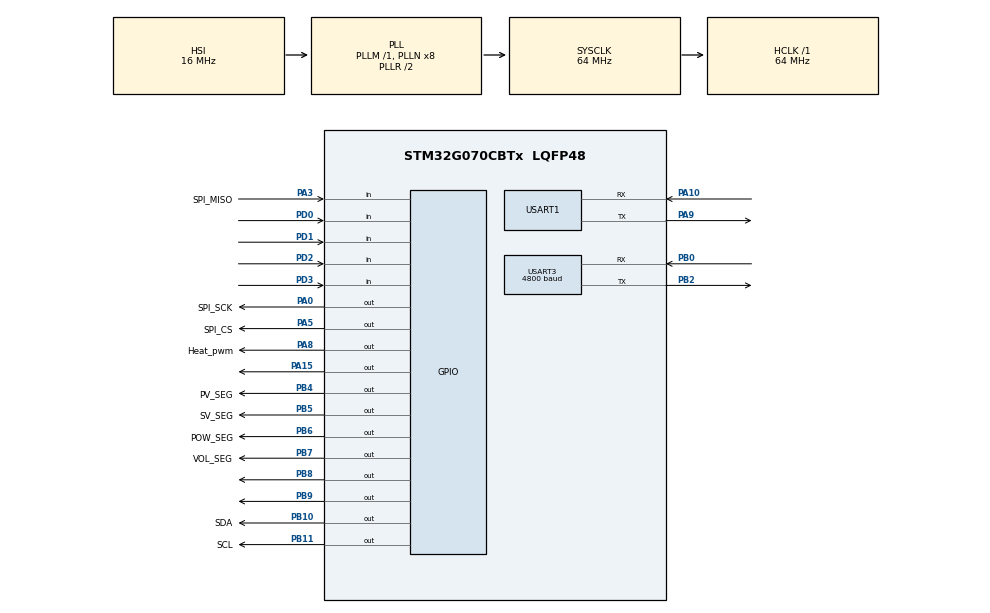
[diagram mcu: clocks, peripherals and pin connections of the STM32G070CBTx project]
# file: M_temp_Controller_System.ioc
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FREERTOS.Tasks01=defaultTask,16,128,StartDefaultTask,Default,NULL,Dynamic,NULL,NULL;Temp,27,256,Temp_Task,Default,NULL,Dynamic,NULL,NULL;Heat,28,256,Heat_Task,Default,NULL,Dynamic,NULL,NULL;Power,27,512,Power_Task,Default,NULL,Dynamic,NULL,NULL;UI,27,256,UI_Task,Default,NULL,Dynamic,NULL,NULL;Key,27,256,Key_Task,Default,NULL,Dynamic,NULL,NULL;Save,17,1024,Save_Task,Default,NULL,Dynamic,NULL,NULL;Beep,24,128,Beep_Task,Default,NULL,Dynamic,NULL,NULL;UART_Print,15,128,UART_Print_Task,Default,NULL,Dynamic,NULL,NULL;Fault_detector,24,128,Fault_detector_Task,Default,NULL,Dynamic,NULL,NULL
FREERTOS.configTOTAL_HEAP_SIZE=16000
FREERTOS.configUSE_NEWLIB_REENTRANT=1
Mcu.Family=STM32G0
Mcu.Name=STM32G070CBTx
Mcu.Package=LQFP48
NVIC.TIM6_IRQn=true\:3\:0\:false\:false\:true\:false\:false\:true\:true
NVIC.TimeBase=TIM6_IRQn
NVIC.TimeBaseIP=TIM6
PA0.GPIO_Label=SPI_SCK
PA0.Signal=GPIO_Output
PA10.Mode=Asynchronous
PA10.Signal=USART1_RX
PA13.Mode=Serial_Wire
PA13.Signal=SYS_SWDIO
PA14-BOOT0.Mode=Serial_Wire
PA14-BOOT0.Signal=SYS_SWCLK
PA15.Signal=GPIO_Output
PA3.GPIO_Label=SPI_MISO
PA3.Signal=GPIO_Input
PA5.GPIO_Label=SPI_CS
PA5.GPIO_Speed=GPIO_SPEED_FREQ_MEDIUM
PA5.Signal=GPIO_Output
PA8.GPIO_Label=Heat_pwm
PA8.Signal=GPIO_Output
PA9.Mode=Asynchronous
PA9.Signal=USART1_TX
PB0.GPIO_Speed=GPIO_SPEED_FREQ_VERY_HIGH
PB0.Mode=Asynchronous
PB0.PinState=GPIO_PIN_RESET
PB0.Signal=USART3_RX
PB10.GPIO_Label=SDA
PB10.GPIO_ModeDefaultOutputPP=GPIO_MODE_OUTPUT_OD
PB10.GPIO_PuPd=GPIO_NOPULL
PB10.Signal=GPIO_Output
PB11.GPIO_Label=SCL
PB11.GPIO_ModeDefaultOutputPP=GPIO_MODE_OUTPUT_OD
PB11.GPIO_PuPd=GPIO_NOPULL
PB11.Signal=GPIO_Output
PB2.Mode=Asynchronous
PB2.Signal=USART3_TX
PB4.GPIO_Label=PV_SEG
PB4.GPIO_Speed=GPIO_SPEED_FREQ_HIGH
PB4.PinState=GPIO_PIN_SET
PB4.Signal=GPIO_Output
PB5.GPIO_Label=SV_SEG
PB5.GPIO_Speed=GPIO_SPEED_FREQ_HIGH
PB5.PinState=GPIO_PIN_SET
PB5.Signal=GPIO_Output
PB6.GPIO_Label=POW_SEG
PB6.GPIO_Speed=GPIO_SPEED_FREQ_HIGH
PB6.PinState=GPIO_PIN_SET
PB6.Signal=GPIO_Output
PB7.GPIO_Label=VOL_SEG
PB7.GPIO_Speed=GPIO_SPEED_FREQ_HIGH
PB7.PinState=GPIO_PIN_SET
PB7.Signal=GPIO_Output
PB8.PinState=GPIO_PIN_SET
PB8.Signal=GPIO_Output
PB9.PinState=GPIO_PIN_SET
PB9.Signal=GPIO_Output
PD0.GPIO_PuPd=GPIO_PULLUP
PD0.Signal=GPIO_Input
PD1.GPIO_PuPd=GPIO_PULLUP
PD1.Signal=GPIO_Input
PD2.GPIO_PuPd=GPIO_PULLUP
PD2.Signal=GPIO_Input
PD3.GPIO_PuPd=GPIO_PULLUP
PD3.Signal=GPIO_Input
ProjectManager.HeapSize=0x200
ProjectManager.StackSize=0x400
ProjectManager.TargetToolchain=STM32CubeIDE
RCC.ADCFreq_Value=64000000
RCC.AHBFreq_Value=64000000
RCC.CortexFreq_Value=64000000
RCC.EXTERNAL_CLOCK_VALUE=48000
RCC.HCLKFreq_Value=64000000
RCC.HSE_VALUE=8000000
RCC.HSI_VALUE=16000000
RCC.LSE_VALUE=32768
RCC.SYSCLKFreq_VALUE=64000000
RCC.SYSCLKSource=RCC_SYSCLKSOURCE_PLLCLK
RCC.VCOOutputFreq_Value=128000000
TIM7.AutoReloadPreload=TIM_AUTORELOAD_PRELOAD_ENABLE
TIM7.Prescaler=64-1
USART1.VirtualMode-Asynchronous=VM_ASYNC
USART3.BaudRate=4800
USART3.Mode=MODE_TX_RX
USART3.Parity=PARITY_EVEN
USART3.VirtualMode-Asynchronous=VM_ASYNC
USART3.WordLength=WORDLENGTH_8B
VP_FREERTOS_VS_CMSIS_V2.Mode=CMSIS_V2
VP_SYS_VS_tim6.Mode=TIM6
VP_TIM7_VS_ClockSourceINT.Mode=Enable_Timer
board=custom

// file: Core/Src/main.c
/* USER CODE BEGIN Header */
/**
  ******************************************************************************
  * @file           : main.c
  * @brief          : Main program body
  ******************************************************************************
  * @attention
  *
  * Copyright (c) 2025 STMicroelectronics.
  * All rights reserved.
  *
  * This software is licensed under terms that can be found in the LICENSE file
  * in the root directory of this software component.
  * If no LICENSE file comes with this software, it is provided AS-IS.
  *
  ******************************************************************************
  */
/* USER CODE END Header */
#include "main.h"
#include "cmsis_os.h"
#include "tim.h"
#include "usart.h"
#include "gpio.h"

void SystemClock_Config(void);
void MX_FREERTOS_Init(void);

int main(void)
{

  /* MCU Configuration--------------------------------------------------------*/

  /* Reset of all peripherals, Initializes the Flash interface and the Systick. */
  HAL_Init();

  /* Configure the system clock */
  SystemClock_Config();

  /* USER CODE BEGIN SysInit */
  HAL_SYSCFG_StrobeDBattpinsConfig(SYSCFG_CFGR1_UCPD1_STROBE);
  HAL_SYSCFG_StrobeDBattpinsConfig(SYSCFG_CFGR1_UCPD2_STROBE);
  /* USER CODE END SysInit */

  /* Initialize all configured peripherals */
  MX_GPIO_Init();
  MX_USART1_UART_Init();
  MX_USART3_UART_Init();
  MX_TIM7_Init();
  /* USER CODE BEGIN 2 */
  HAL_TIM_Base_Start(&htim7);
  // ** 初始化 HLW8032 驱动 **
  // 假设 HLW8032 连接到 huart3
  HLW8032_Init(&huart3);
  //HLW8032_StartReceive();
  /* USER CODE END 2 */

  /* Init scheduler */
  osKernelInitialize();  /* Call init function for freertos objects (in cmsis_os2.c) */
  MX_FREERTOS_Init();

  /* Start scheduler */
  osKernelStart();

  /* We should never get here as control is now taken by the scheduler */

  /* Infinite loop */
  /* USER CODE BEGIN WHILE */
  while (1)
  {

	  osDelay(1000);
    /* USER CODE END WHILE */

  }
}

void SystemClock_Config(void)
{
  RCC_OscInitTypeDef RCC_OscInitStruct = {0};
  RCC_ClkInitTypeDef RCC_ClkInitStruct = {0};

  /** Configure the main internal regulator output voltage
  */
  HAL_PWREx_ControlVoltageScaling(PWR_REGULATOR_VOLTAGE_SCALE1);

  /** Initializes the RCC Oscillators according to the specified parameters
  * in the RCC_OscInitTypeDef structure.
  */
  RCC_OscInitStruct.OscillatorType = RCC_OSCILLATORTYPE_HSI;
  RCC_OscInitStruct.HSIState = RCC_HSI_ON;
  RCC_OscInitStruct.HSIDiv = RCC_HSI_DIV1;
  RCC_OscInitStruct.HSICalibrationValue = RCC_HSICALIBRATION_DEFAULT;
  RCC_OscInitStruct.PLL.PLLState = RCC_PLL_ON;
  RCC_OscInitStruct.PLL.PLLSource = RCC_PLLSOURCE_HSI;
  RCC_OscInitStruct.PLL.PLLM = RCC_PLLM_DIV1;
  RCC_OscInitStruct.PLL.PLLN = 8;
  RCC_OscInitStruct.PLL.PLLP = RCC_PLLP_DIV2;
  RCC_OscInitStruct.PLL.PLLR = RCC_PLLR_DIV2;
  if (HAL_RCC_OscConfig(&RCC_OscInitStruct) != HAL_OK)
  {
    Error_Handler();
  }

  /** Initializes the CPU, AHB and APB buses clocks
  */
  RCC_ClkInitStruct.ClockType = RCC_CLOCKTYPE_HCLK|RCC_CLOCKTYPE_SYSCLK
                              |RCC_CLOCKTYPE_PCLK1;
  RCC_ClkInitStruct.SYSCLKSource = RCC_SYSCLKSOURCE_PLLCLK;
  RCC_ClkInitStruct.AHBCLKDivider = RCC_SYSCLK_DIV1;
  RCC_ClkInitStruct.APB1CLKDivider = RCC_HCLK_DIV1;

  if (HAL_RCC_ClockConfig(&RCC_ClkInitStruct, FLASH_LATENCY_2) != HAL_OK)
  {
    Error_Handler();
  }
}

/* USER CODE BEGIN 4 */
void delay_us(uint16_t us)
{
    uint16_t start = TIM7->CNT;
    while ((uint16_t)(TIM7->CNT - start) < us) {}
}
/* USER CODE END 4 */

void HAL_TIM_PeriodElapsedCallback(TIM_HandleTypeDef *htim)
{
  if (htim->Instance == TIM6)
  {
    HAL_IncTick();
  }
}

void Error_Handler(void)
{
  __disable_irq();
  while (1)
  {
  }
}

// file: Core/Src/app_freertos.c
/* USER CODE BEGIN Header */
/**
  ******************************************************************************
  * File Name          : app_freertos.c
  * Description        : Code for freertos applications
  ******************************************************************************
  * @attention
  *
  * Copyright (c) 2025 STMicroelectronics.
  * All rights reserved.
  *
  * This software is licensed under terms that can be found in the LICENSE file
  * in the root directory of this software component.
  * If no LICENSE file comes with this software, it is provided AS-IS.
  *
  ******************************************************************************
  */
/* USER CODE END Header */

#include "FreeRTOS.h"
#include "task.h"
#include "main.h"
#include "cmsis_os.h"

/* USER CODE BEGIN Includes */
#include "stdio.h"
#include "tim.h"
#include "usart.h"
#include "gpio.h"
#include "string.h"
#include "math.h"

/* USER CODE END Includes */

/* USER CODE BEGIN PTD */
osMessageQueueId_t UartQueueHandle; // 串口打印队列

// ====================================================
// 新增：应用状态机定义
// ====================================================
typedef enum {
    STATE_OFF = 0,             // 初始状态，未加热，可调整目标温度 SV
   // STATE_SV_SETTING = 0,      // 与 STATE_OFF 相同，默认是设置模式
    STATE_HEAT_READY,          // PV 显示 "HEAT"，等待 OK 启动
    STATE_AUTOTUNE_READY,      // PV 显示 "ATUNE"，等待 OK 启动
    STATE_HEATING,             // PID 正在运行，控制加热
    STATE_AUTOTUNE_RUNNING,    // 自整定正在运行 (Save_Task 负责)
    STATE_FAULT                // MAX31855 传感器故障
} AppState_t;

/* Helper struct for EEPROM storage */
typedef struct {
    float Kp;
    float Ki;
    float Kd;
    float Setpoint; // 新增：目标温度设置值
    uint8_t magic;
} PID_Save_t;

typedef enum {
    MODE_POWER = 0,    // 功率显示格式
    MODE_VOLTAGE       // 电压显示格式
} DisplayMode_t;

/* USER CODE END PTD */

/* USER CODE BEGIN PD */

#define AVG_N 8

#define EEPROM_PID_ADDR 0x00
#define PID_MAGIC 0xA6

#define MAX_SAFE_TEMP_C 200.0f // 整定时与运行时的安全温度上限（请按实际设备设置）

// TM1652 通道定义 (对应 bsp_tm1652.c)
#define TM1652_CHANNEL_PV 0 // Process Value - 当前温度
#define TM1652_CHANNEL_SV 1 // Set Value - 目标温度
#define TM1652_CHANNEL_POW 3 // Power - 功率 (W) <-- 新增：Channel 2
#define TM1652_CHANNEL_VOL 2 // Voltage - 电压 (V) <-- 新增：Channel 3
// 数码管段码常量
#define SEG_DP_MASK 0x80 // DP点在最高位
#define TM1652_SET_CONTROL_LOW   0x18 //段驱动电流
#define TM1652_SET_CONTROL_MID   0x1E //段驱动电流1/2
#define TM1652_SET_CONTROL_MAX   0xFE //段驱动电流
#define KEY_MENU_LONG_PRESS_MS 5000 // 5秒长按进入自整定
#define KEY_ACCEL_PRESS_MS 200 // 500ms 长按进入加速调节
#define ACCEL_STEP_SIZE 10.0f // 加速调节步长 10.0度

/* USER CODE END PD */

/* USER CODE BEGIN Variables */

float tempBuffer[AVG_N];
uint8_t tempIndex = 0;
uint8_t tempCount = 0;

float   PID_Input_Temperature = 0.0f;

/* PID 对象（在 pid.c 中实现） */
PID_HandleTypeDef HeaterPID;
uint8_t g_pid_valid = 0; // EEPROM 有效标识

/* autotune / save flags  自整定标志位 */

volatile uint8_t g_save_pid_request = 0;

static uint8_t pv_reached_sv = 0;
/* synchronization */
osMutexId_t  xMutexTemp;
osMutexId_t  xMutexPID;
osMutexId_t xMutexPower; // 用于保护 HLW8032_GetData() 返回值的读取一致性

osMutexId_t xMutexState; // 新增：状态机和SV互斥锁

// ** 蜂鸣器信号量 **
osSemaphoreId_t beep_signal_sem; // 声明信号量句柄，供 bsp_io.c 引用

/* shared setpoint (可在 UI/按键中修改) */
float g_setpoint = 100.0f;

// 全局应用状态
volatile AppState_t g_app_state = STATE_OFF;

// 用于指示当前是否在调节 SV 设定值（且在 STATE_OFF 状态下）
volatile uint8_t g_is_sv_adjusting = 0;

// 0: 未静音，1: 已静音
volatile uint8_t g_fault_muted = 0;

extern uint8_t RxFrameCopy[HLW8032_FRAME_SIZE];
extern PID_AutotuneTypeDef myAT;
/* USER CODE END Variables */
/* Definitions for defaultTask */
osThreadId_t defaultTaskHandle;
const osThreadAttr_t defaultTask_attributes = {
  .name = "defaultTask",
  .priority = (osPriority_t) osPriorityBelowNormal,
  .stack_size = 128 * 4
};
/* Definitions for Temp */
osThreadId_t TempHandle;
const osThreadAttr_t Temp_attributes = {
  .name = "Temp",
  .priority = (osPriority_t) osPriorityNormal3,
  .stack_size = 256 * 4
};
/* Definitions for Heat */
osThreadId_t HeatHandle;
const osThreadAttr_t Heat_attributes = {
  .name = "Heat",
  .priority = (osPriority_t) osPriorityNormal4,
  .stack_size = 256 * 4
};
/* Definitions for Power */
osThreadId_t PowerHandle;
const osThreadAttr_t Power_attributes = {
  .name = "Power",
  .priority = (osPriority_t) osPriorityNormal3,
  .stack_size = 512 * 4
};
/* Definitions for UI */
osThreadId_t UIHandle;
const osThreadAttr_t UI_attributes = {
  .name = "UI",
  .priority = (osPriority_t) osPriorityNormal3,
  .stack_size = 256 * 4
};
/* Definitions for Key */
osThreadId_t KeyHandle;
const osThreadAttr_t Key_attributes = {
  .name = "Key",
  .priority = (osPriority_t) osPriorityNormal3,
  .stack_size = 256 * 4
};
/* Definitions for Save */
osThreadId_t SaveHandle;
const osThreadAttr_t Save_attributes = {
  .name = "Save",
  .priority = (osPriority_t) osPriorityBelowNormal1,
  .stack_size = 1024 * 4
};
/* Definitions for Beep */
osThreadId_t BeepHandle;
const osThreadAttr_t Beep_attributes = {
  .name = "Beep",
  .priority = (osPriority_t) osPriorityNormal,
  .stack_size = 128 * 4
};
/* Definitions for UART_Print */
osThreadId_t UART_PrintHandle;
const osThreadAttr_t UART_Print_attributes = {
  .name = "UART_Print",
  .priority = (osPriority_t) osPriorityLow7,
  .stack_size = 128 * 4
};
/* Definitions for Fault_detector */
osThreadId_t Fault_detectorHandle;
const osThreadAttr_t Fault_detector_attributes = {
  .name = "Fault_detector",
  .priority = (osPriority_t) osPriorityNormal,
  .stack_size = 128 * 4
};

/* USER CODE BEGIN FunctionPrototypes */

static float Temp_Filter(float newVal);
static int PID_LoadFromEEPROM(void);
//static int PID_SaveToEEPROM(void);
 float read_temp_impl(void);
 void set_heater_impl(uint8_t on); // power: 0..1

 // TM1652 驱动接口声明 (需要确保 bsp_tm1652.c 被编译链接)
 // SegmentMap 应该包含 0-9, 减号 (10), 消隐 (11)
 extern const uint8_t TM1652_SegmentMap[];
 // 温度转换函数
 static void FloatToSegments(float temp, uint8_t output[4]);
 void Convert_Float_To_Segments_Formatted(float value, uint8_t out_seg[4], DisplayMode_t mode);

/* USER CODE END FunctionPrototypes */

void StartDefaultTask(void *argument);
void Temp_Task(void *argument);
void Heat_Task(void *argument);
void Power_Task(void *argument);
void UI_Task(void *argument);
void Key_Task(void *argument);
void Save_Task(void *argument);
void Beep_Task(void *argument);
void UART_Print_Task(void *argument);
void Fault_detector_Task(void *argument);

void MX_FREERTOS_Init(void); /* (MISRA C 2004 rule 8.1) */

void MX_FREERTOS_Init(void) {
  /* USER CODE BEGIN Init */

	 /* create mutexes */
	  xMutexTemp = osMutexNew(NULL);
	  xMutexPID  = osMutexNew(NULL);
	  xMutexPower = osMutexNew(NULL); // 初始化功率互斥锁
	  xMutexState = osMutexNew(NULL); // 初始化状态机互斥锁
	  // ** 初始化蜂鸣器信号量 **
	  // 使用计数信号量，最大计数5，初始计数0
	  beep_signal_sem = osSemaphoreNew(5, 0, NULL);
	  /* load PID from EEPROM before creating tasks so Heat_Task can know g_pid_valid immediately */

	  if (PID_LoadFromEEPROM() == 0) {
			// Initialize PID controller with loaded params
			PID_Init(&HeaterPID, HeaterPID.Kp, HeaterPID.Ki, HeaterPID.Kd, 0.0f, 1.0f);
			g_pid_valid = 1;
		} else {
			// mark invalid and init PID with safe zeros
			g_pid_valid = 0;
			PID_Init(&HeaterPID, 0.0f, 0.0f, 0.0f, 0.0f, 1.0f);
			// 假设默认目标温度为 100
			g_setpoint = 100.0f;
		}
	//  HeaterPID.Kp  *=2;
	  //  HeaterPID.Kp = 0.12;   // 参数P  //300W功率加热棒 目标温度150 ，145度时功率明显下降
	//    HeaterPID.Ki = 0.0006;  // 参数I 0.002超温3度，且来回震荡  ->调小 振幅减小
	//    HeaterPID.Kd = 0.025; //

	    // 0.12  0.0008  0.02 处于轻微振荡状态 处于切阻尼
	    // 0.12 0.0006 0.025 温度会回落1度左右，然后缓慢升到目标温度 目标温度较高时需要很长时间到达目标温度

  /* USER CODE END Init */

  /* USER CODE BEGIN RTOS_QUEUES */
  /* add queues, ... */
 /* 创建串口打印队列，16 条消息，每条 128 字节 */
	UartQueueHandle = osMessageQueueNew(16, 128, NULL);
  /* USER CODE END RTOS_QUEUES */

  /* Create the thread(s) */
  /* creation of defaultTask */
  defaultTaskHandle = osThreadNew(StartDefaultTask, NULL, &defaultTask_attributes);

  /* creation of Temp */
  TempHandle = osThreadNew(Temp_Task, NULL, &Temp_attributes);

  /* creation of Heat */
  HeatHandle = osThreadNew(Heat_Task, NULL, &Heat_attributes);

  /* creation of Power */
  PowerHandle = osThreadNew(Power_Task, NULL, &Power_attributes);

  /* creation of UI */
  UIHandle = osThreadNew(UI_Task, NULL, &UI_attributes);

  /* creation of Key */
  KeyHandle = osThreadNew(Key_Task, NULL, &Key_attributes);

  /* creation of Save */
  SaveHandle = osThreadNew(Save_Task, NULL, &Save_attributes);

  /* creation of Beep */
  BeepHandle = osThreadNew(Beep_Task, NULL, &Beep_attributes);

  /* creation of UART_Print */
  UART_PrintHandle = osThreadNew(UART_Print_Task, NULL, &UART_Print_attributes);

  /* creation of Fault_detector */
  Fault_detectorHandle = osThreadNew(Fault_detector_Task, NULL, &Fault_detector_attributes);

}

void StartDefaultTask(void *argument)
{
  /* USER CODE BEGIN StartDefaultTask */
  /* Infinite loop */
  for(;;)
  {
    osDelay(100);
  }
  /* USER CODE END StartDefaultTask */
}

void Temp_Task(void *argument)
{
  /* USER CODE BEGIN Temp_Task */

  uint32_t nextWakeTime = osKernelGetTickCount();
  const uint32_t period = TEMP_PERIOD_MS; // 250ms
  char msg[128];
 // AppState_t old_state = STATE_OFF; // 用于检测状态变化
  /* Infinite loop */
  for(;;)
  {
   //1. 读取温度数据
   MAX31855_ReadData(&MAX31855_Handle);
   uint8_t current_fault = MAX31855_GetFault(&MAX31855_Handle);
   uint8_t over_temp_fault = 0;
   float raw_temp = 0.0f;
   float filtered_temp = 0.0f;

   if(!current_fault)
	 {
	     raw_temp = MAX31855_GetTemperature(&MAX31855_Handle);
	     filtered_temp = Temp_Filter(raw_temp); // 移动平均滤波
		 //2. 放入 PID 共享变量（线程安全）
		 if (osMutexAcquire(xMutexTemp, osWaitForever) == osOK) {
		     PID_Input_Temperature = filtered_temp;
		     osMutexRelease(xMutexTemp);
		 }

	 // 3. 检查安全温度
	 if (filtered_temp > g_setpoint+20) { //超温20摄氏度  报警
		 over_temp_fault = 1;
	 }
		 snprintf(msg, sizeof(msg), "Temperature: %.1f C\r\n", filtered_temp);
		 // 发送到 UART 打印队列
	     osMessageQueuePut(UartQueueHandle, &msg, 0, pdMS_TO_TICKS(10));
	 }
   // 4. 故障状态机管理
   	 if ( over_temp_fault) //删除current_fault
   	 {
   	     // 发生故障，强制进入故障模式并关闭加热
   	     if (osMutexAcquire(xMutexState, osWaitForever) == osOK) {
   	      //   old_state = g_app_state;
   	         g_app_state = STATE_FAULT;
   	         // MARK: Optimization 1: 进入故障模式时重置静音状态
   	         g_fault_muted = 0;
   	         osMutexRelease(xMutexState);
   	     }
   	     set_heater_impl(0);
   	     LED_Red_Set(1); // 故障红灯常亮

   	     // 只有在未静音时才触发蜂鸣器
   	     if (!g_fault_muted) {
   	         Beep_Start(); // 报警
   	     }

   	     if (current_fault) {
   	    	 snprintf(msg, sizeof(msg), "MAX31855 Fault! Raw=%.1f\r\n", raw_temp);
   	     } else {
   	    	 snprintf(msg, sizeof(msg), "OVER TEMP Fault! T=%.1f\r\n", filtered_temp);
   	     }
   	     // MARK: Optimization 8: UART 打印队列使用短时等待
   	     osMessageQueuePut(UartQueueHandle, &msg, 0, pdMS_TO_TICKS(10));

   	 }else {
	     // 故障解除后，如果当前状态是 FAULT，则切换回 OFF 状态
	     if (osMutexAcquire(xMutexState, osWaitForever) == osOK) {
	         if (g_app_state == STATE_FAULT) {
	             g_app_state = STATE_OFF;
	             // 故障解除，重置静音和指示灯状态
	             g_fault_muted = 0;
	             LED_Red_Set(0);
	             Beep_Start(); // 提示音
	         }
	         osMutexRelease(xMutexState);
	     }
	     // 持续处于非故障状态时，可以熄灭红灯（如果是Key_Task静音后留下的红灯）
	     if (g_app_state != STATE_FAULT) {
	         LED_Red_Set(0);
	     }
	 }

   // 精确周期延时
          nextWakeTime += period;
          osDelayUntil(nextWakeTime);
   // osDelay(1);
  }
  /* USER CODE END Temp_Task */
}

void Heat_Task(void *argument)
{
  /* USER CODE BEGIN Heat_Task */
	uint32_t nextWakeTime = osKernelGetTickCount();
	const uint32_t period = PID_PERIOD_MS; //500ms
	float temp = 0.0;
	AppState_t current_state;
	static uint8_t tpc_counter = 0;
	static uint8_t target_on_steps = 0;
	static uint8_t is_tuned_initialized = 0; // 用于标记自整定算法是否已就绪
  /* Infinite loop */
  for(;;)
  {

      // 1. 获取当前状态和温度
	  if (osMutexAcquire(xMutexState, osWaitForever) == osOK) {
	      current_state = g_app_state;
	      osMutexRelease(xMutexState);
	  }
/*	  if (current_state == STATE_AUTOTUNE_RUNNING) {
	      // Heat_Task 完全放弃控制，由 autotune 专用逻辑接管
	      nextWakeTime += period;
	      osDelayUntil(nextWakeTime);
	      continue;
	  }*/
	  // 获取当前温度
	  if (osMutexAcquire(xMutexTemp, osWaitForever) == osOK) {
		  temp = PID_Input_Temperature;
		  osMutexRelease(xMutexTemp);
	  }

	  // --- 核心状态机管理 ---
	  // 模式1: 故障模式优先级最高
	  if (current_state == STATE_FAULT)
	  {
		  set_heater_impl(0);
		  tpc_counter = 0;
	   }

	  // 模式2: 自整定模式

	  else if (current_state == STATE_AUTOTUNE_RUNNING)
	  {
		  if(is_tuned_initialized==0&&temp<(g_setpoint-5.0)) //当前温度<目标温度5℃
		  {
			  // --- 阶段 A: 全功率预热 ---
			  set_heater_impl(1);
			  tpc_counter = 0; // 保持 100% 输出
			  is_tuned_initialized = 0; // 只要还在预热，就标记为未初始化
		  }
		  else
		  {
			  if(is_tuned_initialized==0)
			  {
				  tpc_counter = 0;
				   is_tuned_initialized = 1; // 锁定在振荡阶段
			  }

		  // 1. 获取自整定算法的决策
			  float at_output = PID_Autotune_Process(&myAT, temp, osKernelGetTickCount());

			  // 2. 将自整定输出转化为 TPC 目标步数
			  // at_output 会在 (BaseOutput + OutputStep) 和 (BaseOutput - OutputStep) 之间切换
			  // 假设 BaseOutput = 0.3 (30%), OutputStep = 0.3 (20%)
			  // 则系统在 50% 功率和 10% 功率之间切换
			  if (tpc_counter == 0)
			  {
				  target_on_steps = (uint8_t)(at_output * TPC_STEPS + 0.5f);
				  if (target_on_steps > TPC_STEPS) target_on_steps = TPC_STEPS;
			  }

			  // 3. TPC 输出控制
				  if(tpc_counter < target_on_steps) set_heater_impl(1);
				  else set_heater_impl(0);
			  // 4. 更新计数器 (公用 TPC 逻辑)
				  tpc_counter++;
				  if(tpc_counter >= TPC_STEPS) tpc_counter = 0;
			  // 检查是否完成
			  if (myAT.Status == AUTOTUNE_COMPLETE) {
				  if (osMutexAcquire(xMutexPID, osWaitForever) == osOK) {
					  // 更新 PID 结构体参数
					  HeaterPID.Kp = myAT.SuggestedKp;
					  HeaterPID.Ki = myAT.SuggestedKi;
					  HeaterPID.Kd = myAT.SuggestedKd;
					  g_pid_valid = 1;
					  osMutexRelease(xMutexPID);
				  }
				  g_save_pid_request =1 ; //参数保持请求
				  // 自动切回停止或加热模式
				  if (osMutexAcquire(xMutexState, osWaitForever) == osOK) {
					  g_app_state = STATE_OFF;
					  osMutexRelease(xMutexState);
				  }
			  }
		  }

	  }
	  // 【模式三：正常 PID 加热模式】
	  // 2. 只有在 HEATING 状态下才执行 PID 逻辑
	  else if (current_state == STATE_HEATING)
	   {

		  // 2.1 安全检查：PID 参数必须有效
		  if (!g_pid_valid) {
			  set_heater_impl(0);
			  tpc_counter = 0;
			  char msg[64];
			  snprintf(msg, sizeof(msg), "PID params INVALID! Heater disabled.\r\n");
			  osMessageQueuePut(UartQueueHandle, &msg, 0, pdMS_TO_TICKS(10));

			  nextWakeTime += period;
			  osDelayUntil(nextWakeTime);
			  continue;
		  }
		  // 2.2 PID 计算
		   float dt = (float)period / 1000.0f;
		   float power_ratio = 0.0f; // 0.0 - 1.0

		   // 使用互斥锁保护 PID 结构体和 setpoint
		   if (osMutexAcquire(xMutexPID, 5) == osOK) {
			   power_ratio = PID_Compute(&HeaterPID, g_setpoint, temp, dt);
			   osMutexRelease(xMutexPID);
		   }

		   if (power_ratio < 0.0f) power_ratio = 0.0f;
		   if (power_ratio > 1.0f) power_ratio = 1.0f;

		   // 2.3 TPC 步数计算 在 TPC 周期开始 (tpc_counter == 0) 时更新目标步数
		   if (tpc_counter == 0)
		   {
			   target_on_steps = (uint8_t)(power_ratio * TPC_STEPS + 0.5f);
			   if (target_on_steps > TPC_STEPS) target_on_steps = TPC_STEPS;
		   }
		   // 2.4 TPC 控制输出
		   if(tpc_counter < target_on_steps)
		   {
			   set_heater_impl(1);  // SSR ON
		//	   LED_Green_Set(1);
		   }

		   else
		   {
			   set_heater_impl(0);  // SSR OFF
			//   LED_Green_Set(0);
		   }

		   // 2.5 更新计数器
		   tpc_counter++;
		   if(tpc_counter >= TPC_STEPS)
			   tpc_counter = 0;

		   // 2.6 打印调试信息
			char msg[128];
			snprintf(msg, sizeof(msg), "HEAT: T=%.1f, Ratio=%.2f, TPC Step=%d, Target=%d\r\n",
					 temp,
					 power_ratio,
					 (int)tpc_counter,
					 (int)target_on_steps);
			osMessageQueuePut(UartQueueHandle, &msg, 0, pdMS_TO_TICKS(10));

	   }
	  else
	  {

		  // 模式四：停止模式
	          set_heater_impl(0);
	          tpc_counter = 0; // 重置 TPC

	  }

	 nextWakeTime += period;
	 osDelayUntil(nextWakeTime);
  }
  /* USER CODE END Heat_Task */
}

void Power_Task(void *argument)
{
  /* USER CODE BEGIN Power_Task */
//	uint8_t frame[24];
//	uint8_t idx = 0;
//	uint32_t startTime = 0;
	// uint32_t nextWakeTime = osKernelGetTickCount();
	// const uint32_t period = 250; // 250ms 周期
  /* Infinite loop */
  for(;;)
  {
	//  uint8_t byte;
      // 每次阻塞接收 1 字节，超时 5ms
      if (HAL_UART_Receive(&huart3, RxFrameCopy, 24, 100) == HAL_OK)
      {

        	  HLW8032_ProcessAndStore();

      //        HLW8032_Value_t data = HLW8032_GetData();
/*              char msg[128];
              snprintf(msg, sizeof(msg),
                       "POWER: V=%.1fV A=%.3fA P=%.1fW\r\n",
                       data.Voltage, data.Current, data.Power);
              osMessageQueuePut(UartQueueHandle, msg, 0, 10);*/

      }

      osDelay(10);
  }
  /* USER CODE END Power_Task */
}

void UI_Task(void *argument)
{
  /* USER CODE BEGIN UI_Task */
	 LED_Green_Set(1);
	 LED_Red_Set(1);
	 osDelay(1000);
	 uint32_t nextWakeTime = osKernelGetTickCount();
	const uint32_t period =250; // 250ms 刷新周期
	float pv_temp = 0.0f;
	float sv_temp = 0.0f;
	float power = 0.0f;
	float voltage = 0.0f;

	static float pv_display = 0.0f;   // 用于显示的温度
	static float pv_hold = 0.0f;      // 锁定显示温度
	static uint8_t pv_display_init = 0;

	uint8_t pv_data[4];
	uint8_t sv_data[4];
	uint8_t pow_data[4];
	uint8_t vol_data[4];
	HLW8032_Value_t power_data;
	AppState_t current_state;
	uint8_t is_sv_adjusting = 0; // 局部变量
	// 模式文字 "HEAT" (H E A t) 和 "ATUN" (A t u n) 的段码定义
	const uint8_t SEG_HEAT[] = {0x76, 0x79, 0x77, 0x78}; // H E A T -> (H, E, A, t)
//	const uint8_t SEG_ATUN[] = {0x77, 0x78, 0x3e, 0x54}; // A T U N -> (A, t, u, n)
	const uint8_t SEG_BLANK[] = {0x00, 0x00, 0x00, 0x00}; // 全灭
	// 预定义模式名称的段码
	const uint8_t SEG_STD[]  = {0x6D, 0x78, 0x5E, 0x00}; // "Std " (S t d)
	const uint8_t SEG_MID[]  = {0x15, 0x10, 0x5E, 0x00}; // "Mid " (M i d)
	const uint8_t SEG_SAFE[] = {0x6D, 0x77, 0x71, 0x79}; // "SAFE" (S A F E)
  /* Infinite loop */
  for(;;)
  {
	  // 1. 读取共享数据和状态 (使用互斥锁)
	  if (osMutexAcquire(xMutexState, osWaitForever) == osOK) {
		  current_state = g_app_state;
		  sv_temp = g_setpoint;
		  // MARK: Optimization 2: 读取 SV 调节标志
		  is_sv_adjusting = g_is_sv_adjusting;
		  osMutexRelease(xMutexState);
	  }
	  if (osMutexAcquire(xMutexTemp, osWaitForever) == osOK) {
		  pv_temp = PID_Input_Temperature;
		  osMutexRelease(xMutexTemp);
	    }
	  if (osMutexAcquire(xMutexPower, osWaitForever) == osOK) {
		  power_data = HLW8032_GetData();
		  osMutexRelease(xMutexPower);
	  }
	  power = power_data.Power;
	  voltage = power_data.Voltage;

	  if (!pv_display_init)
	  {
	      pv_display = pv_temp;
	      pv_hold = pv_temp;
	      pv_display_init = 1;
	  }
	  if(fabsf(pv_temp - sv_temp)>0.1)  //大于这个误差不锁定  误差定义0.6
		  pv_reached_sv = 0;
  // ====================================================
	// 2. PV (当前温度/模式) 显示逻辑 - Channel 0
	// ====================================================
	switch (current_state) {
		case STATE_HEAT_READY:
			pv_reached_sv = 0;
		   // PV 显示 "HEAT"
		   memcpy(pv_data, SEG_HEAT, 4);
		   LED_Green_Set(0); // 准备状态不亮
		   LED_Red_Set(0);
		   break;
		case STATE_AUTOTUNE_READY:
			pv_reached_sv = 0;
			// 根据 myAT.CalcMode 显示不同的模式名称
			switch (myAT.CalcMode) {
				case AT_MODE_MODERATE:    memcpy(pv_data, SEG_MID, 4);  break;
				case AT_MODE_NO_OVERSHOOT: memcpy(pv_data, SEG_SAFE, 4); break;
				case AT_MODE_STANDARD:
				default:                  memcpy(pv_data, SEG_STD, 4);  break;
			}
		   // PV 显示 "ATUN"
		//   memcpy(pv_data, SEG_ATUN, 4);

		   LED_Green_Set(0);
		   // 红灯闪烁逻辑 (每隔 250ms 切换一次)
		   LED_Red_Set((osKernelGetTickCount() / 250) % 2);
		   break;

		case STATE_HEATING:
		{

		    float abs_err = fabsf(pv_temp - sv_temp);

		    if (!pv_reached_sv)
		    {
		        // 还没到过目标温度
		        if (abs_err < 0.1f)
		        {
		            pv_reached_sv = 1;
		            pv_hold = sv_temp;       // 🔒 锁定显示 SV
		            pv_display = pv_hold;
		        }
		        else
		        {
		            // 升温阶段：平滑跟随
		            pv_display += 0.3f * (pv_temp - pv_display);
		        }
		    }
		    else
		    {
		        // 已经到达过：始终显示 SV
		        pv_display = sv_temp;
		    }

		    FloatToSegments(pv_display, pv_data);
		    LED_Green_Set(1);
		    LED_Red_Set(0);
		    break;
		}
		case STATE_AUTOTUNE_RUNNING:
		   // 正常显示当前温度
			pv_reached_sv = 0;
			// --- 自整定进度显示逻辑 ---
			// 1. 如果还在起步阶段（前 3 次跳变以前），显示实时温度
			if (myAT.PeakCount < 3)
			{
				FloatToSegments(pv_temp, pv_data);
			}
			// 2. 进入振荡计算阶段，显示进度
			else
			{
				// 计算当前进度（例如一共要 10 次跳变，现在是第几次）
				// 我们可以显示格式如: "- 04 -"
				uint8_t count = (uint8_t)myAT.PeakCount;
				if (count > 99) count = 99; // 防止溢出

				pv_data[0] = 0x40; // 中间一横 '-'
				pv_data[1] = TM1652_SegmentMap[count / 10]; // 十位
				pv_data[2] = TM1652_SegmentMap[count % 10]; // 个位
				pv_data[3] = 0x40; // 中间一横 '-'

			}
		   LED_Green_blink();//绿色LED闪烁
		  // LED_Green_Set(1); // 绿色 LED 常亮
		   LED_Red_Set(1);
		   break;
		case STATE_FAULT:
		   // 显示温度，红灯常亮 (已经在 Temp_Task 中设置)
			pv_reached_sv = 0;
			pv_display = pv_temp;
			FloatToSegments(pv_display, pv_data);
		   // 可以增加闪烁或显示 "E.rr"
		   // 暂时保持显示温度
		   LED_Green_Set(0);
		   LED_Red_Set(1);
		   break;
		case STATE_OFF:
		default:
		   // 默认：正常显示当前温度
		  pv_reached_sv = 0;
		   pv_display = pv_temp;
		   FloatToSegments(pv_display, pv_data);
		   LED_Green_Set(0); // 加热关闭，绿灯灭
		   LED_Red_Set(0);
		   break;
	}

	// 3. 发送 PV 段码数据
	TM1652_SetSegments(TM1652_CHANNEL_PV, pv_data);
	TM1652_SetControl(TM1652_CHANNEL_PV, TM1652_SET_CONTROL_MAX);

// ====================================================
	// 4. SV (目标温度) 显示逻辑 - Channel 1
	// ====================================================
	// MARK: Optimization 2: 实现 SV 调节时的闪烁效果
	if (is_sv_adjusting && current_state == STATE_OFF)
	{
		// 在 SV 调节模式下，SV 值闪烁 (每 250ms 切换一次)
		if ((osKernelGetTickCount() / 250) % 2 == 0) {
			// 显示 SV
			FloatToSegments(sv_temp, sv_data);
		} else {
			// 熄灭 SV
			memcpy(sv_data, SEG_BLANK, 4);
		}
	}
	else
	{
		// 正常显示 SV
		FloatToSegments(sv_temp, sv_data);
	}

	TM1652_SetSegments(TM1652_CHANNEL_SV, sv_data);
	TM1652_SetControl(TM1652_CHANNEL_SV, TM1652_SET_CONTROL_MAX);

  // ====================================================
	// 5. Power/Voltage 显示逻辑 - Channel 2 & 3
	// ====================================================
	Convert_Float_To_Segments_Formatted(power, pow_data,MODE_POWER);
	TM1652_SetSegments(TM1652_CHANNEL_POW, pow_data);
	TM1652_SetControl(TM1652_CHANNEL_POW, TM1652_SET_CONTROL_MID);

	Convert_Float_To_Segments_Formatted(voltage, vol_data,MODE_VOLTAGE);
	TM1652_SetSegments(TM1652_CHANNEL_VOL, vol_data);
	TM1652_SetControl(TM1652_CHANNEL_VOL, TM1652_SET_CONTROL_MID);

	// 6. 精确周期延时
	nextWakeTime += period;
	osDelayUntil(nextWakeTime);
    //osDelay(1);
  }
  /* USER CODE END UI_Task */
}

void Key_Task(void *argument)
{
  /* USER CODE BEGIN Key_Task */
	const uint32_t period = 50; // 100ms 轮询周期
	uint32_t nextWakeTime = osKernelGetTickCount();
	uint32_t key_states;
	AppState_t current_state;
  /* Infinite loop */
  for(;;)
  {

	// 1. 读取按键状态
	key_states = KEY_Read_State();

  // 2. 获取当前状态（读锁）
  if (osMutexAcquire(xMutexState, osWaitForever) == osOK) {
	  current_state = g_app_state;
	  osMutexRelease(xMutexState);
  }

  if(key_states & KEY_MENU){
	  if (current_state == STATE_AUTOTUNE_RUNNING) {
	        // 自整定运行中，如果按下 Menu 键，则视为取消
	        if (Key_Get_ShortPress(KEY_MENU)) {
	            if (osMutexAcquire(xMutexState, 5) == osOK) {
	                g_app_state = STATE_OFF; // 强行拉回 OFF 状态
	                myAT.Status = AUTOTUNE_IDLE; // 重置算法状态
	                osMutexRelease(xMutexState);
	                Beep_Start();
	            }
	        }
	        // 自整定期间，不响应其他按键（如调温），直接跳转延时
	        goto delay_and_continue;
	    }
  }

  //  故障和自整定状态下的按键处理
  if (current_state == STATE_FAULT) {
 	  // 故障模式下：短按任意键静音，长按 OK 尝试清除故障
 	  if (Key_Get_ShortPress(KEY_OK) || Key_Get_ShortPress(KEY_MENU)) {
 		  if (osMutexAcquire(xMutexState, 5) == osOK) {
 			  g_fault_muted = 1; // 设置静音标志
 			  osMutexRelease(xMutexState);
 		  }
 		  Beep_Stop(); // 停止当前正在响的蜂鸣器
 		  // 提示音不触发
 	  }

 	  // 长按 OK 尝试清除故障状态（仅在Temp_Task确认故障已解除后才有效）
 	  if (KEY_Get_LongPress(KEY_OK, KEY_MENU_LONG_PRESS_MS)) {
 	      KEY_Reset_LongPress(KEY_OK);
 	      if (osMutexAcquire(xMutexState, 5) == osOK) {
 	          // 只有当故障根源已解除（Temp_Task 会将状态切回 STATE_OFF）时，长按 OK 才有效
 	          if (g_app_state != STATE_FAULT) {
 	              g_app_state = STATE_OFF; // 切换回 OFF 状态
 	              Beep_Start();
 	          }
 	          osMutexRelease(xMutexState);
 	      }
 	  }
 	  // 其他按键在故障模式下被忽略
 	  goto delay_and_continue;
   }

  // 4. 状态切换逻辑 (Menu/长按Menu)
  if (key_states & KEY_MENU) {
	  // 长按 Menu (5s) -> 尝试进入自整定准备状态
	  if (KEY_Get_LongPress(KEY_MENU, KEY_MENU_LONG_PRESS_MS)) {
		  KEY_Reset_LongPress(KEY_MENU);
		  if (osMutexAcquire(xMutexState, 5) == osOK) {
			  if (g_app_state == STATE_OFF) {
				  g_app_state = STATE_AUTOTUNE_READY;
				  // MARK: Optimization 2: 退出 SV 调节模式
				   g_is_sv_adjusting = 0;
			  }
			  osMutexRelease(xMutexState);
			  Beep_Start();
		  }
	  } else if (Key_Get_ShortPress(KEY_MENU)) {
		  // 短按 Menu
		  if (osMutexAcquire(xMutexState, 5) == osOK) {
			  switch (g_app_state) {
				  case STATE_OFF:
					  // MARK: Optimization 2: 在 OFF 模式下，Menu 短按用于切换 SV 调节模式
					  g_is_sv_adjusting = !g_is_sv_adjusting;
					  break;
				  case STATE_HEAT_READY:
				  case STATE_AUTOTUNE_READY:
					  // 切换回 OFF 状态
					  g_app_state = STATE_OFF;
					  // MARK: Optimization 2: 退出 SV 调节模式
					 g_is_sv_adjusting = 0;
					  break;
				  case STATE_HEATING:
					  // 停止加热
					  g_app_state = STATE_OFF;
					  // MARK: Optimization 2: 退出 SV 调节模式
					  g_is_sv_adjusting = 0;
					  // 提示音
					  Beep_Start();
					  break;
				  default:
					  break;
			  }
			  osMutexRelease(xMutexState);
		  }
		  Beep_Start();
	  }
  }
  // 5. SV 调节逻辑 (只在 STATE_OFF + g_is_sv_adjusting 状态下允许)
  if (current_state == STATE_OFF && g_is_sv_adjusting) {
  	  float step = 1.0f; // 默认步进 1.0
  	  static uint32_t last_repeat_tick = 0;
  	  uint32_t now = osKernelGetTickCount();
  	  if (osMutexAcquire(xMutexState, 5) == osOK) {

	  // ======5. 1. 判断是否进入长按加速模式 ======
  		uint8_t is_long_accel =
			KEY_Get_LongPress(KEY_UP, KEY_ACCEL_PRESS_MS) ||
			KEY_Get_LongPress(KEY_DOWN, KEY_ACCEL_PRESS_MS);

  		  // MARK: Optimization 3: 实现长按加速调节 (10.0度步进)
  		  if (is_long_accel) {
  			  step = ACCEL_STEP_SIZE; // 10.0度
  		  }
  		// ====== 5.2. 短按处理（只触发一次） ======
		if (Key_Get_ShortPress(KEY_UP)) {
			g_setpoint += 1.0f;
			if (g_setpoint > MAX_SETPOINT) g_setpoint = MAX_SETPOINT;
			Beep_Start();
			last_repeat_tick = now;   // 避免短按后立即进入长按重复
		}
		else if (Key_Get_ShortPress(KEY_DOWN)) {
			g_setpoint -= 1.0f;
			if (g_setpoint < MIN_SETPOINT) g_setpoint = MIN_SETPOINT;
			Beep_Start();
			last_repeat_tick = now;
		}
		 // ====== 5.3. 长按自动重复（不使用 key_states & KEY_UP） ======
	if (is_long_accel) {

		// 按住期间每 500ms 增加/减少一次
		if (now - last_repeat_tick >= KEY_ACCEL_PRESS_MS) {
			last_repeat_tick = now;

			if (key_states & KEY_UP) {
				g_setpoint += step;
				if (g_setpoint > MAX_SETPOINT) g_setpoint = MAX_SETPOINT;
				Beep_Start();
			}
			else if (key_states & KEY_DOWN) {
				g_setpoint -= step;
				if (g_setpoint < MIN_SETPOINT) g_setpoint = MIN_SETPOINT;
				Beep_Start();
			}
		}
	}

  		  // 调节完成后，复位加速长按标志，避免下次循环误判
  		  if (!(key_states & KEY_UP) && !(key_states & KEY_DOWN)) {
  			  KEY_Reset_LongPress(KEY_UP);
  			  KEY_Reset_LongPress(KEY_DOWN);
  		  }

  		  osMutexRelease(xMutexState);
  	  }
    }

  // 6. 确认/启动逻辑 (OK Button)
 if (Key_Get_ShortPress(KEY_OK)) {
   if (osMutexAcquire(xMutexState, 5) == osOK) {
	   switch (g_app_state) {
		   case STATE_OFF:
			   // MARK: Optimization 2: 在 OFF 模式且 SV 调节开启时，OK 键用于退出调节模式
			   if (g_is_sv_adjusting) {
				   g_is_sv_adjusting = 0;
				   g_save_pid_request = 1; // SV 设定值已修改，触发保存
				   Beep_Start();
			   }else {
					   // **** 关键修复：不在 SV 调节模式，OK 键进入加热准备模式 ****
					   g_app_state = STATE_HEAT_READY;
					   Beep_Start();
			   }
			   break;
		   case STATE_HEAT_READY:
			   // 启动加热
			   g_app_state = STATE_HEATING;
			   // 启动加热时，保存当前目标温度到 EEPROM
			   g_save_pid_request = 1;
			   Beep_Start();
			   break;
		   case STATE_AUTOTUNE_READY:
			   // 启动自整定
			   // 1. 在这里调用初始化函数 (建议参数：目标值, 基准24%, 扰动24%) -整定温度小于120  at->Ku =  at->Ku * 2 ;// 系数修正
			   // 基准40% 扰动40%    at->Ku =  at->Ku * 1.33333 ;// 系数修正
			   // 这里的 0.3f 对应 30% 的功率偏移
			   PID_Autotune_Init(&myAT, g_setpoint, 0.24f, 0.24f);
			   // 2. 切换状态
			   g_app_state = STATE_AUTOTUNE_RUNNING;
			   Beep_Start();
			   break;
		   default:
			   // 其他状态：确认键无效
			   break;
	   }
	   osMutexRelease(xMutexState);
   }
 }
 // 7. 新增：在 AUTOTUNE_READY 下切换整定计算模式
 if (current_state == STATE_AUTOTUNE_READY) {
             if (Key_Get_ShortPress(KEY_UP)) {
                 myAT.CalcMode = (AT_CalcMode_t)((myAT.CalcMode + 1) % 3);
                 Beep_Start();
             } else if (Key_Get_ShortPress(KEY_DOWN)) {
                 myAT.CalcMode = (AT_CalcMode_t)((myAT.CalcMode + 2) % 3);
                 Beep_Start();
             }
         }

	// 7. 延时
	delay_and_continue:
	nextWakeTime += period;
	osDelayUntil(nextWakeTime);

  }
  /* USER CODE END Key_Task */
}

void Save_Task(void *argument)
{
  /* USER CODE BEGIN Save_Task */
  /* Infinite loop */
  for(;;)
  {
	  // 2. PID/SV 参数保存逻辑 (g_save_pid_request 由 Key_Task 或 Autotune 成功设置)
	  if (g_save_pid_request) {

		   PID_Save_t save;

		   // 锁定 PID 和状态，确保获取到最新的 K/SV 值
		   if (osMutexAcquire(xMutexPID, osWaitForever) == osOK && osMutexAcquire(xMutexState, osWaitForever) == osOK) {
			   save.Kp = HeaterPID.Kp;
			   save.Ki = HeaterPID.Ki;
			   save.Kd = HeaterPID.Kd;
			   save.Setpoint = g_setpoint; // 保存目标温度
			   save.magic = PID_MAGIC;
			   osMutexRelease(xMutexState);
			   osMutexRelease(xMutexPID);
		   } else {
			   // 获取锁失败，本次跳过保存，等待下一周期
			   goto delay_and_continue;
		   }

		   // 写入 EEPROM（逐字节写）
			 uint8_t *p = (uint8_t*)&save;
			 for (uint32_t i=0; i<sizeof(PID_Save_t); i++) {
				 AT24_WriteByte(EEPROM_PID_ADDR + i, p[i]);
				// osDelay(pdMS_TO_TICKS(6)); // 写周期保护
			 }

			 g_save_pid_request = 0; // 清除保存请求
			 char msg[64];
			 snprintf(msg, sizeof(msg), "PID/SV parameters saved to EEPROM.\r\n");
			 osMessageQueuePut(UartQueueHandle, &msg, 0, pdMS_TO_TICKS(10));
	  }
	  delay_and_continue:
	  osDelay(pdMS_TO_TICKS(200));
   // osDelay(1);
  }
  /* USER CODE END Save_Task */
}

void Beep_Task(void *argument)
{
  /* USER CODE BEGIN Beep_Task */
  /* Infinite loop */
  for(;;)
  {
	  // 阻塞等待 Beep 信号量的通知
	      if(osSemaphoreAcquire(beep_signal_sem, osWaitForever) == osOK)
	      {
	          // 开启蜂鸣器 (PA15 高电平叫)
	          HAL_GPIO_WritePin(BEEP_PORT, BEEP_PIN, GPIO_PIN_SET);

	          // 持续 100ms
	          osDelay(pdMS_TO_TICKS(100));

	          // 关闭蜂鸣器 (调用 bsp_io.c 中的 Beep_Stop，该函数会将 PA15 拉低)
	          Beep_Stop();
	      }
  }
  /* USER CODE END Beep_Task */
}

void UART_Print_Task(void *argument)
{
  /* USER CODE BEGIN UART_Print_Task */
	 char msg[128];
  /* Infinite loop */
  for(;;)
  {
	  // 等待消息
	 if(osMessageQueueGet(UartQueueHandle, &msg, NULL, osWaitForever) == osOK)
	 {
		 // 阻塞方式发送，可以改为 DMA
		 HAL_UART_Transmit(&huart1, (uint8_t*)msg, strlen(msg), HAL_MAX_DELAY);
	 }
	  //osDelay(1);
  }
  /* USER CODE END UART_Print_Task */
}

void Fault_detector_Task(void *argument)
{
  /* USER CODE BEGIN Fault_detector_Task */
uint32_t nextWakeTime = osKernelGetTickCount();
	const uint32_t period = 500; // 500ms 检测周期

	float last_temp = 0.0f;
	uint32_t full_power_count = 0;
	const uint32_t FULL_POWER_LIMIT = 10; // 10次 * 0.5s = 10s
	const float TEMP_RISE_THRESHOLD = 1.0f;   // 温度未上升阈值
	const float TEMP_DROP_THRESHOLD = 5.0f;   // 温度快速下降阈值 (°C/周期)
	uint16_t overpower_cnt = 0;
	HLW8032_Value_t power_data;
	AppState_t current_state;
/* Infinite loop */
  for(;;)
  {
	  // 读取当前状态
	if(osMutexAcquire(xMutexState, osWaitForever) == osOK) {
		current_state = g_app_state;
		osMutexRelease(xMutexState);
	}

	// 只在加热相关状态检测
	if(current_state == STATE_HEATING || current_state == STATE_HEAT_READY)
	{
		// 读取温度
		float temp = 0.0f;
		if(osMutexAcquire(xMutexTemp, osWaitForever) == osOK) {
			temp = PID_Input_Temperature;
			osMutexRelease(xMutexTemp);
		}

		// 读取功率
		if(osMutexAcquire(xMutexPower, osWaitForever) == osOK) {
			power_data = HLW8032_GetData();
			osMutexRelease(xMutexPower);
		}
		float power = power_data.Power;

		// =============================
		// 1. 功率过大判断 (2500W)
		// =============================
		if(power > 2500)
		{
			overpower_cnt++;
			if(overpower_cnt > 2) {   // 1 秒
				if(osMutexAcquire(xMutexState, osWaitForever) == osOK)
				{
					g_app_state = STATE_FAULT;
					g_fault_muted = 0;
					osMutexRelease(xMutexState);
				}
				set_heater_impl(0);
				osSemaphoreRelease(beep_signal_sem);
				overpower_cnt = 0;
			}
		} else
			{
				overpower_cnt = 0;
			}
		// -------------------------
		// 加热棒异常检测（功率高但温度不上升）
		// -------------------------
		if(power > 100) {  //定义功率大于100W  连续输出功率>100W 但不升温（恒温时会进行控温）
			if(fabsf(temp - last_temp) < TEMP_RISE_THRESHOLD) {
				full_power_count++;
			} else {
				full_power_count = 0;
			}

			if(full_power_count >= FULL_POWER_LIMIT ) {
				// 故障判定
				if(osMutexAcquire(xMutexState, osWaitForever) == osOK) {
					g_app_state = STATE_FAULT;
					g_fault_muted = 0;
					osMutexRelease(xMutexState);
				}
				set_heater_impl(0);
				osSemaphoreRelease(beep_signal_sem);
				full_power_count = 0;
			}
		} else {
			full_power_count = 0;
		}

		// -------------------------
		// 温度快速下降异常检测
		// -------------------------
		float delta_temp = temp - last_temp;
		if(delta_temp < -TEMP_DROP_THRESHOLD) {
			// 温度快速下降 -> 传感器脱离或异常
			if(osMutexAcquire(xMutexState, osWaitForever) == osOK) {
				g_app_state = STATE_FAULT;
				g_fault_muted = 0;
				osMutexRelease(xMutexState);
			}
			set_heater_impl(0);
			osSemaphoreRelease(beep_signal_sem);
		}

		last_temp = temp;
	}

	nextWakeTime += period;
	osDelayUntil(nextWakeTime);
  }
  /* USER CODE END Fault_detector_Task */
}

/* USER CODE BEGIN Application */

float Temp_Filter(float newVal)
{
    tempBuffer[tempIndex] = newVal;
    tempIndex = (tempIndex + 1) % AVG_N;

    if (tempCount < AVG_N)
        tempCount++;

    float sum = 0.0f;
    for (int i = 0; i < tempCount; i++)
        sum += tempBuffer[i];

    return sum / tempCount;
}

/**
 * @brief 将浮点数转换为 TM1652 的 4 位段码显示（支持小数点控制）
 *
 * @param value       输入浮点数
 * @param out_seg     输出段码 (4 bytes)
 * @param mode        显示模式 (功率/电压)
 *
 * MODE_POWER 规则：
 *   <1000: 保留一位小数 (显示 XXX.X)
 *   >=1000: 显示整数，不带小数点
 *
 * MODE_VOLTAGE 规则：
 *   始终保留一位小数 (XX.X 或 XXX.X)
 */
void Convert_Float_To_Segments_Formatted(float value, uint8_t out_seg[4], DisplayMode_t mode)
{
    uint8_t seg_blank = TM1652_SegmentMap[11];  // Blank
    uint8_t seg_minus = TM1652_SegmentMap[10];  // '-'

    // 限制负数（功率/电压不会为负）
    if (value < 0) value = 0;

    float abs_val = value;

    uint16_t scaled = 0;
    uint8_t use_decimal = 0;

    // ================================
    // 1. 功率模式
    // ================================
    if (mode == MODE_POWER) {
        if (abs_val < 1000.0f) {
            use_decimal = 1;  // <1000W 时保留小数
            scaled = (uint16_t)(abs_val * 10 + 0.5f);  // x.x
        } else {
            use_decimal = 0;  // >=1000W 不带小数
            scaled = (uint16_t)(abs_val + 0.5f);
        }
        // ---- 超出范围保护 ----
        if (scaled > 9999) {
            out_seg[0] = seg_minus;
            out_seg[1] = seg_minus;
            out_seg[2] = seg_minus;
            out_seg[3] = seg_minus;
            return;
        }
    }

    // ================================
    // 2. 电压模式：永远保留 1 位小数
    // ================================
    else if (mode == MODE_VOLTAGE) {
        use_decimal = 1;
        scaled = (uint16_t)(abs_val * 10 + 0.5f);  // x.x
    }

    // 避免显示溢出
    if (scaled > 9999)
        scaled = 9999;

    // 分解四位
    uint8_t d0 = (scaled / 1000) % 10;   // 千
    uint8_t d1 = (scaled / 100)  % 10;   // 百
    uint8_t d2 = (scaled / 10)   % 10;   // 十
    uint8_t d3 = (scaled      )  % 10;   // 个

    // 写段码
    out_seg[0] = TM1652_SegmentMap[d0];
    out_seg[1] = TM1652_SegmentMap[d1];
    out_seg[2] = TM1652_SegmentMap[d2];
    out_seg[3] = TM1652_SegmentMap[d3];

    // 加小数点
    if (use_decimal) {
        out_seg[2] |= SEG_DP_MASK;   // X X X . X（个位右侧有小数点）
    }

    // 前导零消隐（不要消隐 d2，因为那里有小数点）
    if (d0 == 0) out_seg[0] = seg_blank;
    if (d0 == 0 && d1 == 0) out_seg[1] = seg_blank;

    // 对于 <10 时，使显示更美观
    if (use_decimal && scaled < 100) {
        out_seg[0] = seg_blank;
        out_seg[1] = seg_blank;
    }
}
/**
 * @brief 将浮点温度转换为4位数码管的段码数据（支持负数）
 * @param temp: 浮点温度值 (e.g., 123.4, -12.3)
 * @param output: 4字节段码输出数组 (DDR0-DDR3)
 * @note 格式化为 X X X . X (保留一位小数)。
 * @note 正数范围: 0.0 到 999.9。负数范围: -99.9 到 0.0。
 */
static void FloatToSegments(float temp, uint8_t output[4])
{
    uint8_t is_negative = (temp < 0.0f);
    float abs_temp = fabsf(temp);

    // 1. 处理范围限制
    // 正数最大 999.9。负数最大 -99.9 (因为 DDR0 需要显示负号 '-')
    if (abs_temp > 999.9f || (is_negative && abs_temp > 99.9f)) {
        // 超过范围，显示 ----
        output[0] = TM1652_SegmentMap[10]; // 10: 减号 '-'
        output[1] = TM1652_SegmentMap[10];
        output[2] = TM1652_SegmentMap[10];
        output[3] = TM1652_SegmentMap[10];
        return;
    }

    // 2. 放大10倍并取整，以便提取每一位数字 (e.g., 12.3 -> 123)
    uint16_t value = (uint16_t)(roundf(abs_temp * 10.0f));

    // ====================================================
    // 3. 提取数字和转换段码 (DDR0 DDR1 DDR2. DDR3)
    // ====================================================

    uint8_t d3 = value % 10;          // 小数点后一位
    uint8_t d2 = (value / 10) % 10;   // 个位 (带DP)

    output[3] = TM1652_SegmentMap[d3];
    // 个位带小数点
    output[2] = TM1652_SegmentMap[d2] | SEG_DP_MASK;

    if (is_negative) {
        // 负数显示: - X X . X (DDR0 = -, DDR1 = 十位, DDR2 = 个位, DDR3 = 小数位)
        uint8_t d1 = (value / 100) % 10;  // 十位

        output[0] = TM1652_SegmentMap[10]; // DDR0 显示负号 '-'
        output[1] = TM1652_SegmentMap[d1];

        // 前导零消隐 (只需对 DDR1，即十位进行消隐, 如果值小于10.0，如 -5.2)
        // value < 100 意味着绝对值小于 10.0 (e.g., 5.2 -> value=52)
        if (value < 100) {
            output[1] = TM1652_SegmentMap[11]; // 11: Blank
        }

    } else {
        // 正数显示: X X X . X (DDR0 = 百位, DDR1 = 十位, DDR2 = 个位, DDR3 = 小数位)
        uint8_t d1 = (value / 100) % 10;  // 十位
        uint8_t d0 = (value / 1000) % 10; // 百位

        output[1] = TM1652_SegmentMap[d1];
        output[0] = TM1652_SegmentMap[d0];

        // 前导零消隐 (DDR0 百位, DDR1 十位)
        // 假设 SegmentMap[11] 为消隐 (Blank)
        if (d0 == 0) {
            output[0] = TM1652_SegmentMap[11];
            if (d1 == 0) {
                output[1] = TM1652_SegmentMap[11];
                // 此时剩下 X. X，个位不能消隐
            }
        }
    }
}

/* 从 EEPROM 读取 PID 参数（逐字节读取） */
static int PID_LoadFromEEPROM(void)
{
    PID_Save_t load;
    uint8_t *p = (uint8_t*)&load;

    for (uint32_t i=0; i<sizeof(PID_Save_t); i++) {
        p[i] = AT24_ReadByte(EEPROM_PID_ADDR + i);
        delay_us(1000);
      //  HAL_Delay(1);
     //   osDelay(1);
    }

    if (load.magic != PID_MAGIC) {
        return -1; // 无效
    }

    // 将值复制到 HeaterPID（线程安全在调用处处理）
    HeaterPID.Kp = load.Kp;
    HeaterPID.Ki = load.Ki;
    HeaterPID.Kd = load.Kd;
    g_setpoint = load.Setpoint; // 加载目标温度
    return 0;
}
/* 读取当前温度（用于 autotune） */
 float read_temp_impl(void)
{
    float t = 0.0f;
    if (osMutexAcquire(xMutexTemp, osWaitForever) == osOK) {
        t = PID_Input_Temperature;
        osMutexRelease(xMutexTemp);
    }
    return t;
}
/* 设置加热功率（0..1），映射到定时器比较值 */
 void set_heater_impl(uint8_t on)
{
	if(on)
	{
		Heat_on;
	}
	else
	{
		Heat_off;
	}

}
 void HAL_UART_RxCpltCallback(UART_HandleTypeDef *huart)
 {
	 HLW8032_RxCplt(huart);

 }
/* USER CODE END Application */
